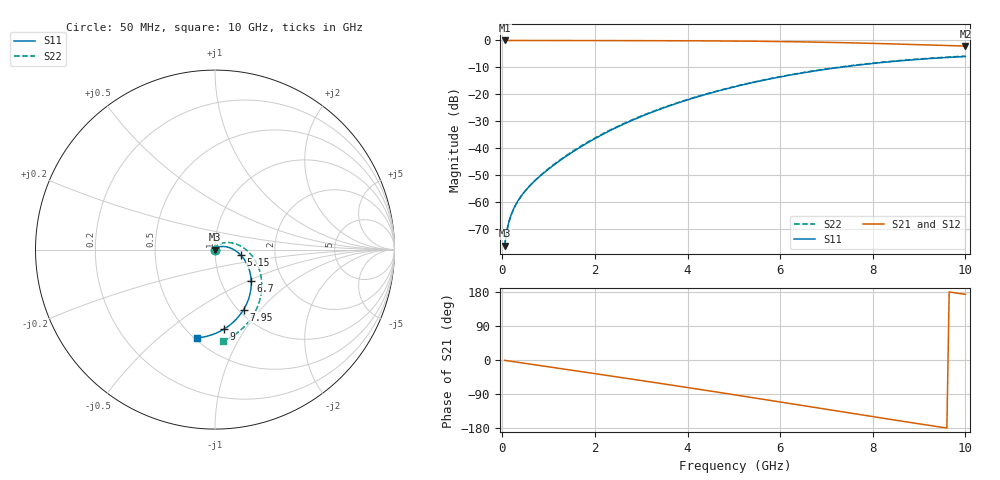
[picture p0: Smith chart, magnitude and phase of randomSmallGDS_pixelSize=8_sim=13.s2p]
! freq	dB(S11)	phase(S11)	dB(S12)	phase(S12)
!  dB(S21)	phase(S21)	dB(S22)	phase(S22)
!S-par simulation data
#  GHz  S  DB  R 50
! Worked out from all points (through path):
!   200 points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, 50 MHz to 10 GHz, reference 50 ohm
!   highest |S21| = 0.00 dB at 50 MHz (marker M1); lowest = -2.1 dB at 10 GHz (marker M2)
!   group delay of S21, straight-line fit = 52.3 ps
!   lowest |S11| = -76.2 dB at 50 MHz (marker M3), VSWR 1.00, Z = 50 + j0.0149 ohm
!   |S11| at or under -10 dB: start of sweep to 7.28 GHz
!   |S22| runs from -76.3 to -5.8 dB; largest |S21 - S12| = 0
!   S11 on the Smith chart (normalised r, x): 50 MHz: 1.00, +0.00; 5.15 GHz: 1.33, -0.08; 6.7 GHz: 1.39, -0.53; 7.95 GHz: 1.05, -0.82; 9 GHz: 0.72, -0.80; 10 GHz: 0.51, -0.68
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0.05  -76.15 73.5  -0.00 -0.9  -0.00 -0.9  -76.31 75.1
0.1  -70.32 79.0  -0.00 -1.8  -0.00 -1.8  -70.48 82.6
0.15  -66.80 79.8  -0.00 -2.7  -0.00 -2.7  -66.95 85.3
0.2  -64.26 79.3  -0.00 -3.6  -0.00 -3.6  -64.40 86.6
0.3  -60.60 77.3  -0.00 -5.4  -0.00 -5.4  -60.70 88.0
0.45  -56.74 73.4  -0.01 -8.1  -0.01 -8.1  -56.79 88.8
0.65  -52.92 68.4  -0.01 -11.7  -0.01 -11.7  -52.87 88.7
0.95  -48.37 61.6  -0.02 -17.1  -0.02 -17.1  -48.20 86.8
1.35  -43.29 53.9  -0.03 -24.3  -0.03 -24.3  -43.04 81.8
1.75  -38.88 47.0  -0.04 -31.5  -0.04 -31.5  -38.62 75.0
2.55  -31.60 33.5  -0.06 -45.9  -0.06 -45.9  -31.37 59.2
3.4  -25.54 18.9  -0.09 -61.5  -0.09 -61.5  -25.37 41.7
4.25  -20.73 4.0  -0.14 -77.3  -0.14 -77.3  -20.58 24.4
5.05  -17.05 -10.4  -0.23 -92.5  -0.23 -92.5  -16.92 8.3
5.15  -16.64 -12.2  -0.24 -94.4  -0.24 -94.4  -16.51 6.3
5.9  -13.86 -26.1  -0.38 -108.8  -0.38 -108.8  -13.74 -8.6
6.7  -11.44 -41.1  -0.59 -124.4  -0.59 -124.4  -11.32 -24.4
7.35  -9.84 -53.3  -0.81 -137.0  -0.81 -137.0  -9.72 -37.0
7.95  -8.62 -64.6  -1.06 -148.6  -1.06 -148.6  -8.49 -48.5
8.35  -7.93 -72.0  -1.25 -156.2  -1.25 -156.2  -7.80 -55.9
9  -6.99 -83.9  -1.57 -168.5  -1.57 -168.5  -6.86 -67.8
10  -5.97 -101.7  -2.08 173.2  -2.08 173.2  -5.82 -85.1
